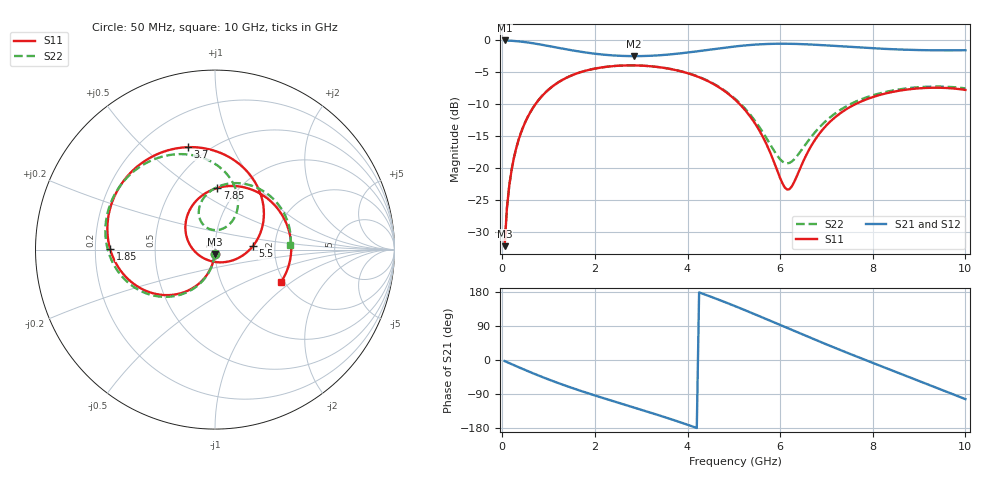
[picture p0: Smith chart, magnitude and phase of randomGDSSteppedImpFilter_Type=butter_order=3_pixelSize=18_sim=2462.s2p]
! freq	dB(S11)	phase(S11)	dB(S12)	phase(S12)
!  dB(S21)	phase(S21)	dB(S22)	phase(S22)
!S-par simulation data
#  GHz  S  DB  R 50
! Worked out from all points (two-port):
!   200 points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, 50 MHz to 10 GHz, reference 50 ohm
!   highest |S21| = -0.01 dB at 50 MHz (marker M1); lowest = -2.5 dB at 2.85 GHz (marker M2)
!   |S21| within 3 dB of the highest: start of sweep to end of sweep
!   lowest |S11| = -32.3 dB at 50 MHz (marker M3), VSWR 1.05, Z = 49.8 - j2.43 ohm
!   |S11| at or under -10 dB: start of sweep to 716.1 MHz; 5.127 GHz to 7.624 GHz (2.496 GHz wide, 39.2 % of centre)
!   |S22| runs from -32.3 to -3.9 dB; largest |S21 - S12| = 0
!   S11 on the Smith chart (normalised r, x): 50 MHz: 1.00, -0.05; 1.85 GHz: 0.26, +0.00; 3.7 GHz: 0.40, +0.69; 5.5 GHz: 1.53, +0.06; 7.85 GHz: 0.81, +0.63; 10 GHz: 1.91, -0.84
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0.05  -32.26 -92.9  -0.01 -2.8  -0.01 -2.8  -32.27 -92.8
0.1  -26.27 -95.9  -0.02 -5.5  -0.02 -5.5  -26.27 -95.6
0.2  -20.34 -101.6  -0.06 -10.9  -0.06 -10.9  -20.34 -101.1
0.35  -15.64 -109.8  -0.15 -18.9  -0.15 -18.9  -15.64 -109.0
0.5  -12.74 -117.8  -0.27 -26.7  -0.27 -26.7  -12.74 -116.7
1.1  -7.12 -147.8  -1.01 -56.0  -1.01 -56.0  -7.12 -145.3
1.75  -4.85 -176.4  -1.84 -83.7  -1.84 -83.7  -4.85 -172.2
1.85  -4.66 179.4  -1.95 -87.7  -1.95 -87.7  -4.65 -176.0
2.35  -4.06 159.4  -2.33 -106.9  -2.33 -106.9  -4.05 165.6
2.85  -3.92 139.7  -2.46 -125.6  -2.46 -125.6  -3.91 148.0
3.4  -4.21 117.5  -2.33 -146.6  -2.33 -146.6  -4.20 128.7
3.7  -4.58 104.7  -2.14 -158.5  -2.14 -158.5  -4.56 118.0
4.45  -6.42 69.5  -1.47 169.5  -1.47 169.5  -6.37 90.5
5.05  -9.44 36.1  -0.92 141.0  -0.92 141.0  -9.31 69.4
5.5  -13.51 5.0  -0.64 118.3  -0.64 118.3  -13.04 59.1
6.15  -23.38 -97.9  -0.52 84.5  -0.52 84.5  -19.29 89.3
6.7  -16.19 163.5  -0.65 56.3  -0.65 56.3  -14.86 116.5
7.3  -11.41 119.9  -0.92 26.3  -0.92 26.3  -10.89 104.2
7.85  -9.28 87.7  -1.17 -0.4  -1.17 -0.4  -8.96 85.4
8.35  -8.19 60.4  -1.36 -24.3  -1.36 -24.3  -7.97 66.8
9.2  -7.44 15.6  -1.54 -64.7  -1.54 -64.7  -7.26 34.3
10  -7.77 -26.6  -1.53 -103.2  -1.53 -103.2  -7.52 3.8
